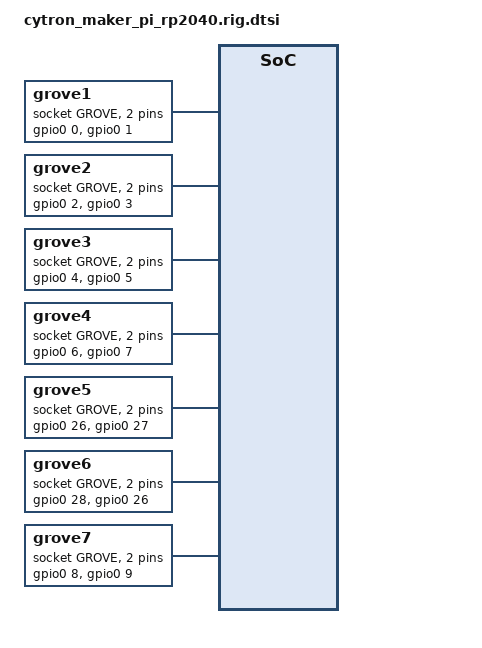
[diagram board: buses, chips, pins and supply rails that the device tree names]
/* Board-DT fragment: Cytron Maker Pi RP2040 — seven typed Grove sockets.
 * Part of the BOARD tree (real phandles, edtlib-validated in a real build).
 * Models the in-tree grove_header1..7 nexus nodes as socket,grove nodes.
 *
 * The point of S4-a (R13): header5 SIG0 and header6 SIG1 are wired to the
 * SAME SoC pin (gpio0 26 = ADC0). The expander must discover this from net
 * identity — two modules that both drive it collide even though they sit in
 * different sockets. gpio-map truncated to the signal pins the trial uses.
 */

#include <dt-bindings/connector/grove.h>

/ {
	grove1: connector@1 {
		compatible = "socket,grove";
		#gpio-cells = <2>;
		gpio-map = <GROVE_SIG0 0 &gpio0 0 0>, <GROVE_SIG1 0 &gpio0 1 0>;
	};
	grove2: connector@2 {
		compatible = "socket,grove";
		#gpio-cells = <2>;
		gpio-map = <GROVE_SIG0 0 &gpio0 2 0>, <GROVE_SIG1 0 &gpio0 3 0>;
	};
	grove3: connector@3 {
		compatible = "socket,grove";
		#gpio-cells = <2>;
		gpio-map = <GROVE_SIG0 0 &gpio0 4 0>, <GROVE_SIG1 0 &gpio0 5 0>;
	};
	grove4: connector@4 {
		compatible = "socket,grove";
		#gpio-cells = <2>;
		gpio-map = <GROVE_SIG0 0 &gpio0 6 0>, <GROVE_SIG1 0 &gpio0 7 0>;
	};
	grove5: connector@5 {
		compatible = "socket,grove";
		#gpio-cells = <2>;
		gpio-map = <GROVE_SIG0 0 &gpio0 26 0>,	/* ADC0 — shared with grove6 SIG1 */
			   <GROVE_SIG1 0 &gpio0 27 0>;
	};
	grove6: connector@6 {
		compatible = "socket,grove";
		#gpio-cells = <2>;
		gpio-map = <GROVE_SIG0 0 &gpio0 28 0>,
			   <GROVE_SIG1 0 &gpio0 26 0>;	/* ADC0 — shared with grove5 SIG0 */
	};
	grove7: connector@7 {
		compatible = "socket,grove";
		#gpio-cells = <2>;
		gpio-map = <GROVE_SIG0 0 &gpio0 8 0>, <GROVE_SIG1 0 &gpio0 9 0>;
	};
};
